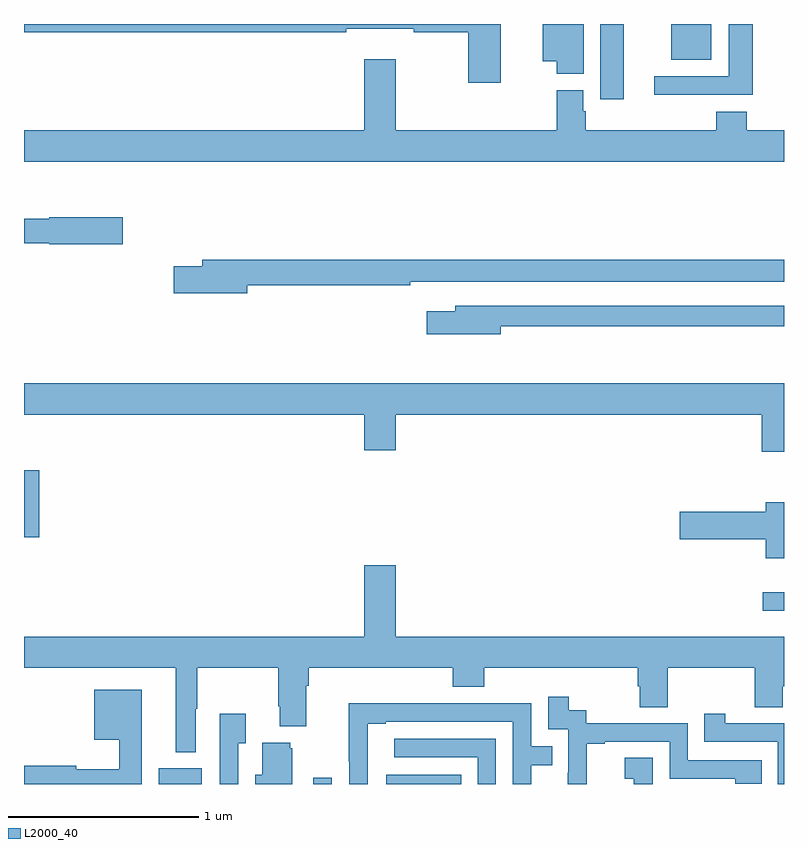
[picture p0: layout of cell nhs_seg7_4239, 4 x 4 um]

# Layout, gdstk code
import gdstk
lib = gdstk.Library(unit=1e-6, precision=1e-09)
def R(c, l, rs):  # rectangles x0, y0, x1, y1
    for r in rs: c.add(gdstk.rectangle(r[:2], r[2:], *l))
def P(c, l, *ps):  # polygons
    for p in ps: c.add(gdstk.Polygon(p, *l))
L2000_40 = (2000, 40)

nhs_seg7_4239 = lib.new_cell('nhs_seg7_4239')
R(nhs_seg7_4239, L2000_40, [(379.709,1004,379.936,1004.083), (380.523,1004,380.619,1004.032), (380.906,1004,381.302,1004.05), (382.887,1004.912,383,1005.009), (379,1005.299,379.079,1005.652), (382.034,1007.604,382.156,1008), (382.406,1007.813,382.618,1008)])
P(nhs_seg7_4239, L2000_40, [(381.508,1008),(379,1008),(379,1007.956),(380.696,1007.956),(380.696,1007.975),(381.052,1007.975),(381.052,1007.956),(381.338,1007.956),(381.338,1007.691),(381.508,1007.691)],
  [(382.835,1008),(382.709,1008),(382.709,1007.724),(382.317,1007.724),(382.317,1007.627),(382.835,1007.627)],
  [(381.946,1008),(381.731,1008),(381.731,1007.804),(381.805,1007.804),(381.805,1007.737),(381.946,1007.737)],
  [(383,1007.44),(382.803,1007.44),(382.803,1007.539),(382.643,1007.539),(382.643,1007.44),(381.956,1007.44),(381.956,1007.541),(381.943,1007.541),(381.943,1007.652),(381.803,1007.652),(381.803,1007.44),(380.956,1007.44),(380.956,1007.815),(380.792,1007.815),(380.792,1007.44),(379,1007.44),(379,1007.276),(383,1007.276)],
  [(379.519,1006.983),(379.134,1006.983),(379.134,1006.975),(379,1006.975),(379,1006.846),(379.134,1006.846),(379.134,1006.841),(379.519,1006.841)],
  [(380.176,1006.624),(381.032,1006.624),(381.032,1006.644),(383,1006.644),(383,1006.76),(379.937,1006.76),(379.937,1006.724),(379.788,1006.724),(379.788,1006.582),(380.176,1006.582)],
  [(381.508,1006.41),(383,1006.41),(383,1006.518),(381.269,1006.518),(381.269,1006.489),(381.12,1006.489),(381.12,1006.367),(381.508,1006.367)],
  [(383,1006.108),(379,1006.108),(379,1005.944),(380.792,1005.944),(380.792,1005.756),(380.956,1005.756),(380.956,1005.944),(382.883,1005.944),(382.883,1005.75),(383,1005.75)],
  [(383,1005.484),(382.904,1005.484),(382.904,1005.434),(382.452,1005.434),(382.452,1005.287),(382.904,1005.287),(382.904,1005.188),(383,1005.188)],
  [(379.903,1004.396),(379.913,1004.396),(379.913,1004.612),(380.338,1004.612),(380.338,1004.41),(380.345,1004.41),(380.345,1004.303),(380.485,1004.303),(380.485,1004.516),(380.498,1004.516),(380.498,1004.612),(381.257,1004.612),(381.257,1004.513),(381.422,1004.513),(381.422,1004.612),(382.229,1004.612),(382.229,1004.514),(382.241,1004.514),(382.241,1004.404),(382.389,1004.404),(382.389,1004.612),(382.846,1004.612),(382.846,1004.404),(382.993,1004.404),(382.993,1004.514),(383,1004.514),(383,1004.776),(380.956,1004.776),(380.956,1005.151),(380.792,1005.151),(380.792,1004.776),(379,1004.776),(379,1004.612),(379.799,1004.612),(379.799,1004.168),(379.903,1004.168)],
  [(379.621,1004.497),(379.37,1004.497),(379.37,1004.234),(379.5,1004.234),(379.5,1004.077),(379.274,1004.077),(379.274,1004.096),(379,1004.096),(379,1004),(379.621,1004)],
  [(381.962,1004.211),(382.057,1004.211),(382.057,1004.223),(382.398,1004.223),(382.398,1004.028),(382.743,1004.028),(382.743,1004.001),(382.883,1004.001),(382.883,1004.124),(382.494,1004.124),(382.494,1004.319),(381.96,1004.319),(381.96,1004.388),(381.868,1004.388),(381.868,1004.458),(381.759,1004.458),(381.759,1004.289),(381.864,1004.289),(381.864,1004.06),(381.863,1004.06),(381.863,1004),(381.962,1004)],
  [(380.808,1004.316),(380.905,1004.316),(380.905,1004.328),(381.573,1004.328),(381.573,1004),(381.669,1004),(381.669,1004.098),(381.779,1004.098),(381.779,1004.199),(381.669,1004.199),(381.669,1004.424),(381.173,1004.424),(381.173,1004.426),(380.71,1004.426),(380.71,1004.119),(380.712,1004.119),(380.712,1004),(380.808,1004)],
  [(380.127,1004.215),(380.167,1004.215),(380.167,1004.371),(380.031,1004.371),(380.031,1004),(380.127,1004)],
  [(383,1004.319),(382.69,1004.319),(382.69,1004.371),(382.579,1004.371),(382.579,1004.223),(382.968,1004.223),(382.968,1004),(383,1004)],
  [(381.483,1004.238),(380.949,1004.238),(380.949,1004.142),(381.387,1004.142),(381.387,1004),(381.483,1004)],
  [(380.413,1004.187),(380.402,1004.187),(380.402,1004.218),(380.255,1004.218),(380.255,1004.05),(380.216,1004.05),(380.216,1004),(380.413,1004)],
  [(382.308,1004.137),(382.161,1004.137),(382.161,1004.027),(382.21,1004.027),(382.21,1004),(382.308,1004)])

lib.write_gds('nhs_seg7_4239.gds')
